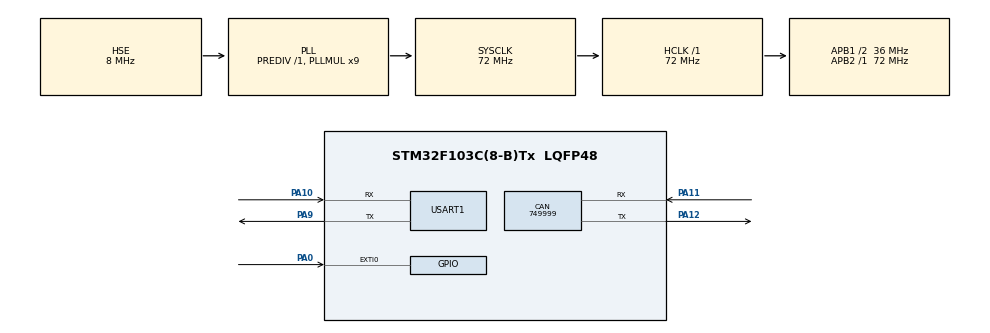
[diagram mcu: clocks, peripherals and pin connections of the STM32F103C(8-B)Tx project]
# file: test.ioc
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CAN.CalculateBaudRate=749999
CAN.CalculateTimeBit=1333
CAN.CalculateTimeQuantum=444.44444444444446
FREERTOS.Tasks01=defaultTask,0,128,StartDefaultTask,Default,NULL,Dynamic,NULL,NULL
Mcu.Family=STM32F1
Mcu.Name=STM32F103C(8-B)Tx
Mcu.Package=LQFP48
NVIC.PriorityGroup=NVIC_PRIORITYGROUP_4
PA0-WKUP.Signal=GPXTI0
PA10.Mode=Asynchronous
PA10.Signal=USART1_RX
PA11.Mode=CAN_Activate
PA11.Signal=CAN_RX
PA12.Mode=CAN_Activate
PA12.Signal=CAN_TX
PA13.Mode=Serial_Wire
PA13.Signal=SYS_JTMS-SWDIO
PA14.Mode=Serial_Wire
PA14.Signal=SYS_JTCK-SWCLK
PA9.Mode=Asynchronous
PA9.Signal=USART1_TX
PD0-OSC_IN.Mode=HSE-External-Oscillator
PD0-OSC_IN.Signal=RCC_OSC_IN
PD1-OSC_OUT.Mode=HSE-External-Oscillator
PD1-OSC_OUT.Signal=RCC_OSC_OUT
ProjectManager.HeapSize=0x200
ProjectManager.StackSize=0x400
ProjectManager.TargetToolchain=Makefile
RCC.AHBFreq_Value=72000000
RCC.APB1CLKDivider=RCC_HCLK_DIV2
RCC.APB1Freq_Value=36000000
RCC.APB1TimFreq_Value=72000000
RCC.APB2Freq_Value=72000000
RCC.APB2TimFreq_Value=72000000
RCC.HCLKFreq_Value=72000000
RCC.PLLMUL=RCC_PLL_MUL9
RCC.PLLSourceVirtual=RCC_PLLSOURCE_HSE
RCC.SYSCLKFreq_VALUE=72000000
RCC.SYSCLKSource=RCC_SYSCLKSOURCE_PLLCLK
RCC.USBFreq_Value=72000000
TIM2.Period=1999
TIM2.Prescaler=7199
USART1.VirtualMode=VM_ASYNC
VP_FREERTOS_VS_CMSIS_V1.Mode=CMSIS_V1
VP_TIM2_VS_ClockSourceINT.Mode=Internal
board=custom

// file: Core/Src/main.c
/* USER CODE BEGIN Header */
/**
  ******************************************************************************
  * @file           : main.c
  * @brief          : Main program body
  ******************************************************************************
  * @attention
  *
  * Copyright (c) 2025 STMicroelectronics.
  * All rights reserved.
  *
  * This software is licensed under terms that can be found in the LICENSE file
  * in the root directory of this software component.
  * If no LICENSE file comes with this software, it is provided AS-IS.
  *
  ******************************************************************************
  */
/* USER CODE END Header */
#include "main.h"
#include "cmsis_os.h"
#include "can.h"
#include "tim.h"
#include "usart.h"
#include "gpio.h"
#include <stdio.h>
#include <string.h>
#include "stm32f1xx_hal.h"  // 包含 HAL 库总头文件，里面会包含大部分外设相关头文件
#include "stm32f1xx_hal_rcc.h"  // 明确包含 RCC 相关头文件
#include "stm32f1xx_hal_can.h"  // 明确包含 CAN 相关头文件

/* USER CODE END PM */

/* USER CODE BEGIN PV */
uint32_t g_motor_target_angle = 0;  // 电机目标角度（0° 或 360°）
uint32_t g_current_period = 2000;   // 当前周期（ms），默认 2000ms
uint32_t g_motor_actual_angle = 0;  // 电机实际角度（从 CAN 接收）

/* FreeRTOS 信号量句柄（需和 CubeMX 配置一致） */
// FreeRTOS handles are defined in freertos.c (CubeMX). Declare them via main.h if needed.
/* USER CODE END PV */

void SystemClock_Config(void);
void MX_FREERTOS_Init(void);
/* USER CODE BEGIN PFP */
void M2006_Send_Pos_Cmd(uint16_t angle, uint16_t id);  // M2006 位置控制指令发送（使用 11-bit 标准 ID，保持 uint16_t）
void MotorCtrlTask(void const *argument);             // 电机控制任务
void UartSendTask(void const *argument);              // 串口发送任务
/* USER CODE END PFP */

int main(void)
{

  /* MCU Configuration--------------------------------------------------------*/

  /* Reset of all peripherals, Initializes the Flash interface and the Systick. */
  HAL_Init();

  /* Configure the system clock */
  SystemClock_Config();

  /* Initialize all configured peripherals */
  MX_GPIO_Init();
  MX_CAN_Init();
  MX_USART1_UART_Init();
  MX_TIM2_Init();
  /* USER CODE BEGIN 2 */
  // 启动定时器（周期中断）
  HAL_TIM_Base_Start_IT(&htim2);
  // 发送初始角度指令（0°）
  M2006_Send_Pos_Cmd(0, 0x201);  // 假设电机 ID 为 0x201
  /* USER CODE END 2 */

  /* Call init function for freertos objects (in freertos.c) */
  MX_FREERTOS_Init();

  /* Start scheduler */
  osKernelStart();

  /* We should never get here as control is now taken by the scheduler */
  /* Infinite loop */
  while (1)
  {

  }
}

void SystemClock_Config(void)
  {
    RCC_OscInitTypeDef RCC_OscInitStruct = {0};
    RCC_ClkInitTypeDef RCC_ClkInitStruct = {0};

    RCC_OscInitStruct.OscillatorType = RCC_OSCILLATORTYPE_HSE;
    RCC_OscInitStruct.HSEState = RCC_HSE_ON;
    RCC_OscInitStruct.HSEPredivValue = RCC_HSE_PREDIV_DIV1;
    RCC_OscInitStruct.HSIState = RCC_HSI_ON;
    RCC_OscInitStruct.PLL.PLLState = RCC_PLL_ON;
    RCC_OscInitStruct.PLL.PLLSource = RCC_PLLSOURCE_HSE;
    RCC_OscInitStruct.PLL.PLLMUL = RCC_PLL_MUL9;

    if (HAL_RCC_OscConfig(&RCC_OscInitStruct) != HAL_OK)
    {
      Error_Handler();
    }

    RCC_ClkInitStruct.ClockType = RCC_CLOCKTYPE_HCLK|RCC_CLOCKTYPE_SYSCLK
                                |RCC_CLOCKTYPE_PCLK1|RCC_CLOCKTYPE_PCLK2;
    RCC_ClkInitStruct.SYSCLKSource = RCC_SYSCLKSOURCE_PLLCLK;
    RCC_ClkInitStruct.AHBCLKDivider = RCC_SYSCLK_DIV1;
    RCC_ClkInitStruct.APB1CLKDivider = RCC_HCLK_DIV2;
    RCC_ClkInitStruct.APB2CLKDivider = RCC_HCLK_DIV1;

    if (HAL_RCC_ClockConfig(&RCC_ClkInitStruct, FLASH_LATENCY_2) != HAL_OK)
    {
      Error_Handler();
    }
  }

/* USER CODE BEGIN 4 */
// CAN 滤波配置 + M2006 指令发送 + CAN 接收回调
void M2006_Send_Pos_Cmd(uint16_t angle, uint16_t id)
{
    CAN_TxHeaderTypeDef tx_header;
    uint8_t tx_data[8] = {0};
    uint32_t tx_mailbox;

    // 角度转编码值（M2006 分辨率：8192 码/圈 → 360°=8192 码）
    int16_t encode = angle * 8192 / 360;

    tx_header.StdId = id;          // 电机 ID（M2006 默认 0x201~0x204，按实际修改）
    tx_header.RTR = CAN_RTR_DATA;  // 数据帧
    tx_header.IDE = CAN_ID_STD;    // 标准 ID
    tx_header.DLC = 8;             // 数据长度 8 字节
    tx_header.TransmitGlobalTime = DISABLE;

    tx_data[0] = encode & 0xFF;                // 编码低 8 位
    tx_data[1] = (encode >> 8) & 0xFF;         // 编码高 8 位
    tx_data[2] = 0;                            // 保留（速度限制，默认 0）
    tx_data[3] = 0;                            // 保留（电流限制，默认 0）
    tx_data[4] = 0;
    tx_data[5] = 0;
    tx_data[6] = 0;
    tx_data[7] = 0;

    HAL_CAN_AddTxMessage(&hcan, &tx_header, tx_data, &tx_mailbox);
    while (HAL_CAN_GetTxMailboxesFreeLevel(&hcan) == 0); // 等待发送完成
}

void HAL_CAN_RxFifo0MsgPendingCallback(CAN_HandleTypeDef *hcan)
{
    CAN_RxHeaderTypeDef rx_header;
    uint8_t rx_data[8] = {0};

    /* 直接读取接收 FIFO 的消息（回调传入的是触发中断的 CAN 句柄指针） */
    HAL_CAN_GetRxMessage(hcan, CAN_RX_FIFO0, &rx_header, rx_data);
    /* 只处理 M2006 反馈（ID=0x201） */
    if (rx_header.StdId == 0x201)
    {
        int16_t encode = (rx_data[1] << 8) | rx_data[0];
        g_motor_actual_angle = encode * 360 / 8192;
    }
}

// 定时器周期中断回调（释放信号量，通知电机任务切换位置）
void HAL_TIM_PeriodElapsedCallback(TIM_HandleTypeDef *htim)
{
    if (htim == &htim2)
    {
        osSemaphoreRelease(PeriodSemHandle); // 释放周期信号量
    }
}

// 外部中断回调（切换运动周期）
void HAL_GPIO_EXTI_Callback(uint16_t GPIO_Pin)
{
    if (GPIO_Pin == GPIO_PIN_0) // 假设外部中断引脚为 PA0
    {
        osSemaphoreRelease(ExtiSemHandle); // 释放外部中断信号量
        // 切换周期（2s ↔ 1s），更新定时器自动重装载值
        if (g_current_period == 2000)
        {
            g_current_period = 1000;
            __HAL_TIM_SET_AUTORELOAD(&htim2, 9999); // 10kHz/(9999+1)=1Hz → 1s
        }
        else
        {
            g_current_period = 2000;
            __HAL_TIM_SET_AUTORELOAD(&htim2, 19999); // 2s
        }
        __HAL_TIM_SET_COUNTER(&htim2, 0); // 重置计数器
    }
}

// 电机控制任务（FreeRTOS 任务函数）
void MotorCtrlTask(void const *argument)
{
    for (;;)
    {
        // 等待定时器信号量（2s/1s 触发一次）
        osSemaphoreWait(PeriodSemHandle, osWaitForever);

        // 切换目标角度（0° ↔ 360°）
        if (g_motor_target_angle == 0)
        {
            g_motor_target_angle = 360;
        }
        else
        {
            g_motor_target_angle = 0;
        }

        // 发送目标角度指令给 M2006
        M2006_Send_Pos_Cmd(g_motor_target_angle, 0x201);

        osDelay(10); // 轻微延时，避免任务占用过高 CPU
    }
}

// 串口发送任务（FreeRTOS 任务函数）
void UartSendTask(void const *argument)
{
    char uart_buf[50]; // 串口发送缓存
    for (;;)
    {
        // 格式化电机实际角度（50Hz：20ms 发送一次）
  sprintf(uart_buf, "Motor Actual Angle: %lu deg\r\n", (unsigned long)g_motor_actual_angle);
  // 发送数据（阻塞发送，确保数据完整）
  HAL_UART_Transmit(&huart1, (uint8_t*)uart_buf, (uint16_t)strlen(uart_buf), 100);

        osDelay(20); // 20ms → 50Hz 频率
    }
}
/* USER CODE END 4 */

void Error_Handler(void)
{
  __disable_irq();
  while (1)
  {
  }
}

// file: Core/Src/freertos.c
/* USER CODE BEGIN Header */
/**
  ******************************************************************************
  * File Name          : freertos.c
  * Description        : Code for freertos applications
  ******************************************************************************
  * @attention
  *
  * Copyright (c) 2025 STMicroelectronics.
  * All rights reserved.
  *
  * This software is licensed under terms that can be found in the LICENSE file
  * in the root directory of this software component.
  * If no LICENSE file comes with this software, it is provided AS-IS.
  *
  ******************************************************************************
  */
/* USER CODE END Header */

#include "FreeRTOS.h"
#include "task.h"
#include "main.h"
#include "cmsis_os.h"

/* USER CODE BEGIN Includes */
#include <stdint.h>  // 提供 uint32_t 等类型定义
#include <stddef.h>  // 补充必要头文件
/* USER CODE END Includes */

/* USER CODE BEGIN Variables */
// 信号量句柄
osSemaphoreId PeriodSemHandle;
osSemaphoreId ExtiSemHandle;

// 任务句柄
osThreadId MotorCtrlTaskHandle;
osThreadId UartSendTaskHandle;
/* USER CODE END Variables */
osThreadId defaultTaskHandle;

/* USER CODE BEGIN FunctionPrototypes */
void MotorCtrlTask(void const *argument);  // 电机控制任务
void UartSendTask(void const *argument);   // 串口发送任务
/* USER CODE END FunctionPrototypes */

void StartDefaultTask(void const * argument);

void MX_FREERTOS_Init(void); /* (MISRA C 2004 rule 8.1) */

/* GetIdleTaskMemory prototype (linked to static allocation support) */
void vApplicationGetIdleTaskMemory( StaticTask_t **ppxIdleTaskTCBBuffer, StackType_t **ppxIdleTaskStackBuffer, uint32_t *pulIdleTaskStackSize );

/* USER CODE BEGIN GET_IDLE_TASK_MEMORY */
static StaticTask_t xIdleTaskTCBBuffer;
static StackType_t xIdleStack[configMINIMAL_STACK_SIZE];

void vApplicationGetIdleTaskMemory( StaticTask_t **ppxIdleTaskTCBBuffer, StackType_t **ppxIdleTaskStackBuffer, uint32_t *pulIdleTaskStackSize )
{
  *ppxIdleTaskTCBBuffer = &xIdleTaskTCBBuffer;
  *ppxIdleTaskStackBuffer = &xIdleStack[0];
  *pulIdleTaskStackSize = configMINIMAL_STACK_SIZE;
  /* place for user code */
}
/* USER CODE END GET_IDLE_TASK_MEMORY */

void MX_FREERTOS_Init(void) {

  /* USER CODE BEGIN RTOS_SEMAPHORES */
  /* 创建「周期触发」信号量（二进制信号量，用于定时器同步） */
  osSemaphoreDef(PeriodSem);
  PeriodSemHandle = osSemaphoreCreate(osSemaphore(PeriodSem), 1);
  if (PeriodSemHandle == NULL) {
      Error_Handler(); // 信号量创建失败时进入错误处理
  }

  /* 创建「外部中断」信号量（二进制信号量，用于周期切换） */
  osSemaphoreDef(ExtiSem);
  ExtiSemHandle = osSemaphoreCreate(osSemaphore(ExtiSem), 1);
  if (ExtiSemHandle == NULL) {
      Error_Handler(); // 信号量创建失败时进入错误处理
  }
  /* USER CODE END RTOS_SEMAPHORES */

  /* Create the thread(s) */
  /* definition and creation of defaultTask */
  osThreadDef(defaultTask, StartDefaultTask, osPriorityNormal, 0, 128);
  defaultTaskHandle = osThreadCreate(osThread(defaultTask), NULL);

  /* USER CODE BEGIN RTOS_THREADS */
  /* 创建「电机控制任务」（高优先级，栈大小512字节） */
  osThreadDef(MotorCtrlTask, MotorCtrlTask, osPriorityHigh, 0, 512);
  MotorCtrlTaskHandle = osThreadCreate(osThread(MotorCtrlTask), NULL);
  if (MotorCtrlTaskHandle == NULL) {
      Error_Handler(); // 任务创建失败时进入错误处理
  }

  /* 创建「串口发送任务」（中优先级，栈大小256字节） */
  osThreadDef(UartSendTask, UartSendTask, osPriorityNormal, 0, 256);
  UartSendTaskHandle = osThreadCreate(osThread(UartSendTask), NULL);
  if (UartSendTaskHandle == NULL) {
      Error_Handler(); // 任务创建失败时进入错误处理
  }
  /* USER CODE END RTOS_THREADS */

}

void StartDefaultTask(void const * argument)
{
  for(;;)
  {
    osDelay(1);
  }
}
